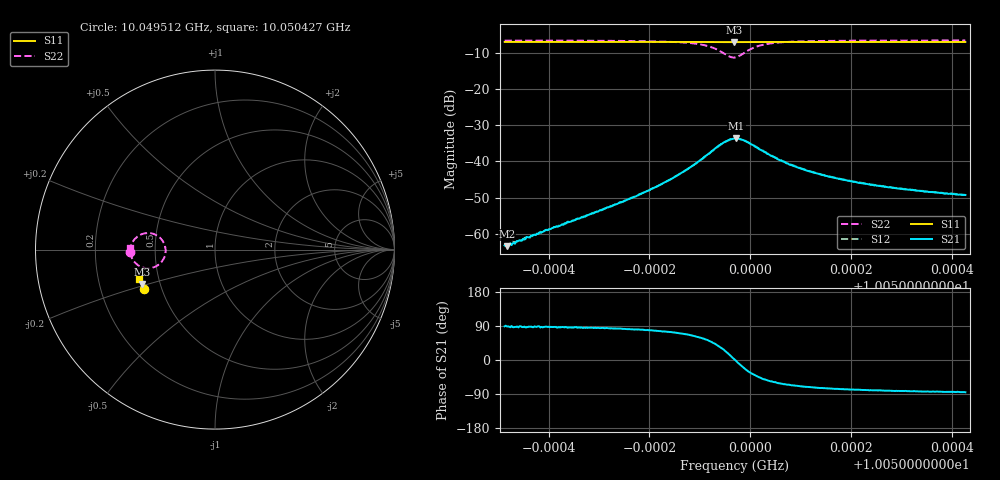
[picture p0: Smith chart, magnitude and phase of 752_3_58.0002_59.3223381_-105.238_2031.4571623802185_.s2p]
#  HZ  S  RI  R  50.00
! Rohde & Schwarz Vector Network Analyzer
! Rohde-Schwarz,ZNB20-2Port,1311601062101988,3.16
! Created: UTC 3/21/2024, 1:24:03 AM
! freq[Hz]  re:S11  im:S11  re:S21  im:S21  re:S12  im:S12  re:S22  im:S22
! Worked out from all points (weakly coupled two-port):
!   401 points, 10.049512 GHz to 10.050427 GHz, reference 50 ohm
!   highest |S21| = -33.64 dB at 10.049972 GHz (marker M1); lowest = -63.5 dB at 10.049517 GHz (marker M2)
!   lowest |S11| = -6.9 dB at 10.049968 GHz (marker M3), VSWR 2.64, Z = 19.7 - j9.5 ohm
!   |S11| at or under -10 dB: nowhere
!   |S22| runs from -11.2 to -6.5 dB; largest |S21 - S12| = 0.0017
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1.00495124e10  -0.3972 -0.2194  1.32e-05 0.000689  -4.14e-05 0.00067  -0.4739 -0.0112
1.00495169e10  -0.3973 -0.219  1.76e-05 0.00067  -3.78e-05 0.000703  -0.4738 -0.0108
1.00495284e10  -0.3975 -0.2185  4.24e-05 0.000733  -4.25e-05 0.000783  -0.4738 -0.00963
1.00495444e10  -0.3982 -0.2175  1.34e-05 0.000808  -2.3e-05 0.000787  -0.4734 -0.00759
1.00496656e10  -0.4017 -0.2102  0.00011 0.00168  6.89e-06 0.0017  -0.4713 0.00838
1.00497434e10  -0.404 -0.2055  0.000335 0.00271  0.000222 0.00269  -0.4675 0.0227
1.00498189e10  -0.4061 -0.2008  0.00109 0.00453  0.000802 0.00459  -0.4576 0.0442
1.00498761e10  -0.4074 -0.1971  0.00306 0.00725  0.00262 0.00741  -0.4344 0.0708
1.00499058e10  -0.408 -0.1949  0.00602 0.00925  0.00544 0.00953  -0.4035 0.0874
1.00499287e10  -0.4081 -0.1934  0.0107 0.0103  0.00995 0.0108  -0.3588 0.0912
1.00499516e10  -0.4079 -0.1921  0.0176 0.0073  0.0167 0.00833  -0.2976 0.0564
1.00499676e10  -0.4079 -0.1918  0.0207 0.00104  0.0203 0.00269  -0.2752 -0.00493
1.00499699e10  -0.408 -0.1918  0.0207 7.88e-05  0.0206 0.00172  -0.2757 -0.0149
1.00499722e10  -0.408 -0.1916  0.0208 -0.000889  0.0207 0.000519  -0.277 -0.0245
1.00499836e10  -0.4084 -0.1916  0.0191 -0.00568  0.0196 -0.0043  -0.2969 -0.0675
1.00499973e10  -0.4089 -0.1913  0.0155 -0.00941  0.0164 -0.00809  -0.336 -0.0965
1.00500271e10  -0.4105 -0.1898  0.00862 -0.0106  0.00957 -0.00998  -0.4043 -0.0991
1.00500751e10  -0.4123 -0.1869  0.0039 -0.00852  0.00455 -0.00825  -0.4486 -0.0692
1.00501231e10  -0.4137 -0.1838  0.0022 -0.00677  0.00263 -0.00669  -0.4631 -0.0472
1.00502055e10  -0.4158 -0.1785  0.00106 -0.0051  0.00141 -0.00508  -0.4711 -0.024
1.00502764e10  -0.4177 -0.1742  0.000682 -0.00434  0.00095 -0.00431  -0.4735 -0.0111
1.00504274e10  -0.4211 -0.1649  0.000288 -0.00341  0.000501 -0.0034  -0.4749 0.00829
